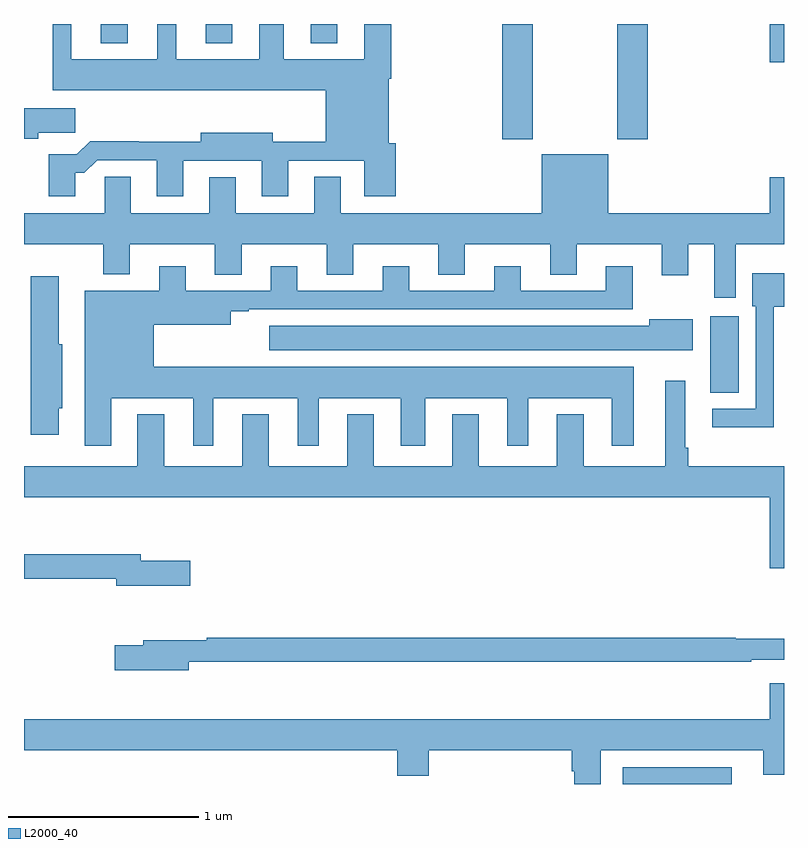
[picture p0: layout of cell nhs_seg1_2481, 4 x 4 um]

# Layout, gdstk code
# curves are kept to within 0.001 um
import gdstk
lib = gdstk.Library(unit=1e-6, precision=1e-09)
def R(c, l, rs):  # rectangles x0, y0, x1, y1
    for r in rs: c.add(gdstk.rectangle(r[:2], r[2:], *l))
def A(c, l, x, y, w, h, nx, ny, dx, dy):  # array of equal rectangles
    R(c, l, [(x+i*dx, y+j*dy, x+i*dx+w, y+j*dy+h) for i in range(nx) for j in range(ny)])
def P(c, l, *ps):  # polygons
    for p in ps: c.add(gdstk.Polygon(p, *l))
L2000_40 = (2000, 40)

nhs_seg1_2481 = lib.new_cell('nhs_seg1_2481')
A(nhs_seg1_2481, L2000_40, 245.405, 578.099, 0.14, 0.1, 3, 1, 0.552, 0)
R(nhs_seg1_2481, L2000_40, [(248.151,574.199,248.725,574.287), (248.612,576.259,248.761,576.661), (247.517,577.593,247.677,578.199), (248.122,577.593,248.282,578.199), (248.924,577.998,249,578.199)])
P(nhs_seg1_2481, L2000_40, [(245.269,577.415),(245.318,577.415),(245.385,577.482),(245.699,577.482),(245.699,577.293),(245.839,577.293),(245.839,577.479),(246.251,577.478),(246.251,577.293),(246.391,577.293),(246.391,577.479),(246.791,577.479),(246.791,577.293),(246.956,577.293),(246.956,577.572),(246.919,577.572),(246.919,577.91),(246.932,577.91),(246.932,578.199),(246.791,578.199),(246.791,578.014),(246.367,578.014),(246.367,578.199),(246.239,578.199),(246.239,578.014),(245.8,578.014),(245.8,578.199),(245.702,578.199),(245.702,578.014),(245.248,578.014),(245.248,578.199),(245.15,578.199),(245.15,577.85),(246.587,577.85),(246.587,577.58),(246.31,577.58),(246.31,577.627),(245.93,577.627),(245.93,577.58),(245.603,577.58),(245.603,577.583),(245.348,577.583),(245.278,577.513),(245.129,577.513),(245.129,577.293),(245.269,577.293)],
  [(245.074,577.627),(245.269,577.627),(245.269,577.756),(245,577.756),(245,577.595),(245.074,577.595)],
  [(248.746,577.04),(249,577.04),(249,577.393),(248.924,577.393),(248.924,577.204),(248.074,577.204),(248.074,577.513),(247.724,577.513),(247.724,577.204),(246.667,577.204),(246.667,577.394),(246.527,577.394),(246.527,577.204),(246.115,577.204),(246.115,577.393),(245.975,577.393),(245.975,577.204),(245.563,577.204),(245.563,577.394),(245.424,577.394),(245.424,577.204),(245,577.204),(245,577.04),(245.417,577.04),(245.417,576.881),(245.557,576.881),(245.557,577.04),(246.005,577.04),(246.005,576.88),(246.145,576.88),(246.145,577.04),(246.593,577.04),(246.593,576.88),(246.733,576.88),(246.733,577.04),(247.181,577.04),(247.181,576.88),(247.321,576.88),(247.321,577.04),(247.769,577.04),(247.769,576.88),(247.909,576.88),(247.909,577.04),(248.357,577.04),(248.357,576.876),(248.497,576.876),(248.497,577.04),(248.633,577.04),(248.633,576.759),(248.746,576.759)],
  [(245.458,576.23),(245.891,576.23),(245.891,575.979),(245.995,575.979),(245.995,576.23),(246.44,576.23),(246.44,575.979),(246.55,575.979),(246.55,576.23),(246.983,576.23),(246.983,575.979),(247.111,575.979),(247.111,576.23),(247.544,576.23),(247.544,575.979),(247.654,575.979),(247.654,576.23),(248.093,576.23),(248.093,575.979),(248.209,575.979),(248.209,576.394),(245.683,576.394),(245.683,576.617),(246.088,576.617),(246.088,576.687),(246.184,576.687),(246.184,576.699),(248.203,576.699),(248.203,576.925),(248.063,576.925),(248.063,576.795),(247.615,576.795),(247.615,576.925),(247.475,576.925),(247.475,576.795),(247.027,576.795),(247.027,576.925),(246.887,576.925),(246.887,576.795),(246.439,576.795),(246.439,576.925),(246.299,576.925),(246.299,576.795),(245.851,576.795),(245.851,576.925),(245.711,576.925),(245.711,576.796),(245.321,576.796),(245.321,575.979),(245.458,575.979)],
  [(248.946,576.71),(249,576.71),(249,576.886),(248.834,576.886),(248.834,576.714),(248.85,576.714),(248.85,576.174),(248.622,576.174),(248.622,576.077),(248.946,576.077)],
  [(245.182,576.177),(245.2,576.177),(245.2,576.513),(245.182,576.513),(245.182,576.871),(245.036,576.871),(245.036,576.036),(245.182,576.036)],
  [(248.521,576.646),(248.291,576.646),(248.291,576.61),(246.291,576.61),(246.291,576.482),(248.521,576.482)],
  [(247.805,576.145),(247.805,575.872),(247.393,575.872),(247.393,576.145),(247.253,576.145),(247.253,575.872),(246.841,575.872),(246.841,576.145),(246.701,576.145),(246.701,575.872),(246.289,575.872),(246.289,576.145),(246.149,576.145),(246.149,575.872),(245.737,575.872),(245.737,576.145),(245.597,576.145),(245.597,575.872),(245,575.872),(245,575.708),(248.924,575.708),(248.924,575.334),(249,575.334),(249,575.872),(248.497,575.872),(248.497,575.968),(248.479,575.968),(248.479,576.322),(248.375,576.322),(248.375,575.872),(247.945,575.872),(247.945,576.145)],
  [(245.875,575.373),(245.614,575.373),(245.614,575.407),(245,575.407),(245,575.278),(245.486,575.278),(245.486,575.243),(245.875,575.243)],
  [(245.866,574.842),(248.828,574.842),(248.828,574.854),(249,574.854),(249,574.963),(248.745,574.963),(248.745,574.97),(245.962,574.97),(245.962,574.955),(245.627,574.955),(245.627,574.929),(245.478,574.929),(245.478,574.799),(245.866,574.799)],
  [(248.035,574.376),(248.891,574.376),(248.891,574.249),(249,574.249),(249,574.729),(248.924,574.729),(248.924,574.54),(245,574.54),(245,574.376),(246.965,574.376),(246.965,574.243),(247.13,574.243),(247.13,574.376),(247.883,574.376),(247.883,574.267),(247.896,574.267),(247.896,574.199),(248.035,574.199)])

lib.write_gds('nhs_seg1_2481.gds')
